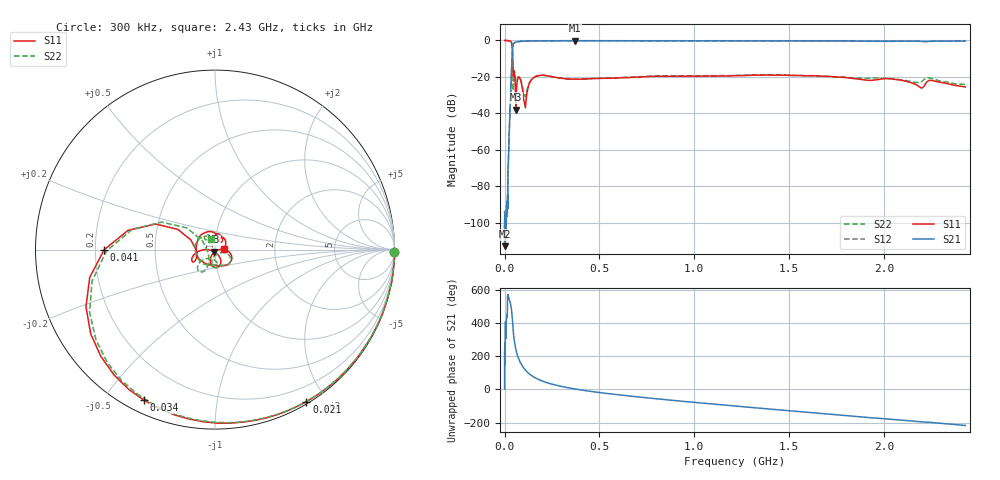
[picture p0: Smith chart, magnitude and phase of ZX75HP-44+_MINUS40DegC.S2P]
! Mini-Circuits
! S2P DATA File Format
! Type: HIGH PASS FILTER
! Model: ZX75HP-44+
! All S Parameters are in dB deg format
! TEST CONDITIONS: INPUT POWER = 0 dBm @ Temperature = -40deg C
! 401 Frequency points
# MHz S DB R 50
!FREQ  MAG(S11) PHS(S11) MAG(S12)PHS(S12)MAG(S21)PHS(S21)MAG(S22)PHS(S22)
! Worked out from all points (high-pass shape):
!   401 points, 300 kHz to 2.43 GHz, reference 50 ohm
!   highest |S21| = -0.13 dB at 370 MHz (marker M1); lowest = -112.9 dB at 400 kHz (marker M2)
!   |S21| within 3 dB of the highest: 43.7 MHz to end of sweep
!   lowest |S11| = -37.9 dB at 60 MHz (marker M3), VSWR 1.03, Z = 49.6 - j1.19 ohm
!   |S11| at or under -10 dB: 43.32 MHz to end of sweep
!   |S22| runs from -30.9 to 0.0 dB; largest |S21 - S12| = 0.0033
!   S11 on the Smith chart (normalised r, x): 300 kHz: open; 21 MHz: 0.02, -1.77; 34 MHz: 0.05, -0.63; 41 MHz: 0.24, -0.00; 2.43 GHz: 1.11, +0.01
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0.3  0.00 -0.8  -98.90 2.4  -94.94 93.4  0.00 -0.7
0.4  0.00 -1.0  -112.87 116.1  -94.83 -58.7  0.00 -1.0
15  -0.05 -40.6  -91.64 114.3  -96.72 128.1  -0.05 -38.9
21  -0.10 -59.0  -62.18 -164.1  -62.08 -169.0  -0.10 -56.5
34  -0.65 -115.2  -23.93 140.5  -23.98 140.7  -0.64 -111.6
41  -4.19 -180.0  -6.76 66.4  -6.79 66.5  -4.37 -179.3
47  -19.04 -156.7  -1.80 -24.7  -1.81 -24.5  -21.53 -114.1
53  -18.63 -167.4  -1.23 -77.9  -1.23 -77.8  -17.49 -136.4
60  -37.90 -109.0  -0.88 -119.6  -0.88 -119.6  -25.16 -113.9
66  -22.99 -62.7  -0.73 -146.3  -0.73 -146.2  -22.03 -79.2
73  -20.11 -81.1  -0.62 -170.5  -0.63 -170.4  -19.91 -85.3
88  -23.08 -112.0  -0.45 152.2  -0.45 152.3  -22.74 -104.2
100  -31.89 -118.8  -0.37 130.8  -0.37 130.9  -29.06 -94.7
125  -25.36 -0.3  -0.29 99.2  -0.29 99.3  -24.74 -17.8
215  -19.21 -48.2  -0.20 44.3  -0.19 44.3  -19.21 -51.8
370  -21.23 -92.9  -0.13 3.3  -0.14 3.2  -21.23 -82.6
410  -21.24 -98.6  -0.14 -4.0  -0.14 -4.1  -21.22 -90.3
820  -19.62 -154.1  -0.18 -58.2  -0.18 -58.3  -19.43 -139.3
1220  -19.28 156.3  -0.20 -100.2  -0.21 -100.3  -19.15 -175.1
1630  -19.35 111.7  -0.25 -140.7  -0.25 -140.8  -19.38 147.5
2030  -21.00 75.0  -0.41 -178.5  -0.43 -178.5  -20.85 124.1
2430  -25.55 2.9  -0.32 143.2  -0.32 143.2  -24.21 109.5
